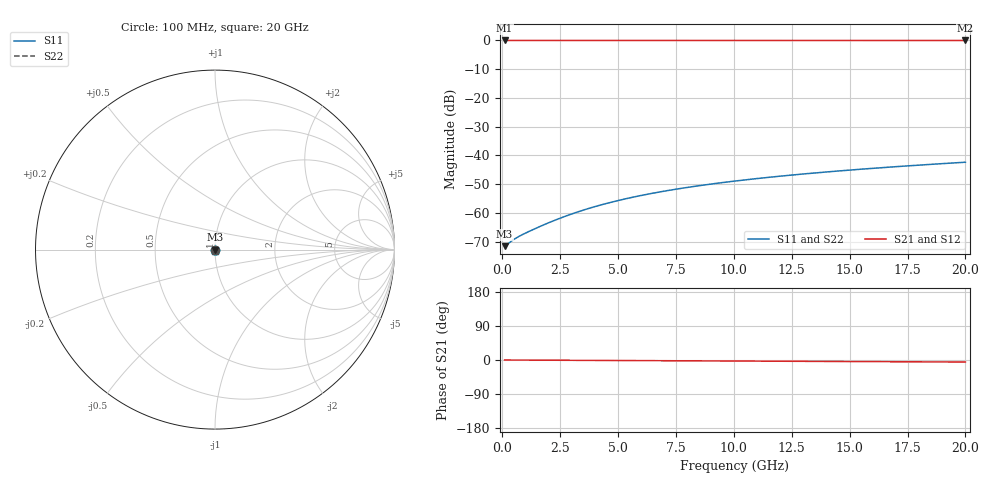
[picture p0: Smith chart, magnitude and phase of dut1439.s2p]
! Touchstone file exported from HFSS 2026.1.0
!  File:  C:/ffzhzh/LocalFiles/Ansys_Project_Files/temp_train_TSV_1439_1783197639_18472.aedt
!  Generated:  04:42:03 AM Jul  5, 2026
!  Design:  TSV
!  Project:  temp_train_TSV_1439_1783197639_18472
! Variables:
!  h_bsmrdl = 2um
!  h_ox = 20um
!  h_rdl = 5um
!  h_sub = 56.05um
!  h_tmrdl = 5um
!  h_tsv = 56.05um
!  h_via = 3um
!  l_bsmrdl = 300um
!  l_sub = 410.78um
!  l_tmrdl = 200um
!  m_sub = 200um
!  pitch = 20.19um
!  r_tsv = 5.39um
!  s_tmrdl = 10um
!  w_bsmrdl = 18um
!  w_sub = 500um
!  w_tmrdl = 12um
!  x_tsv_center1 = 206um
!  x_tsv_center2 = 524um
!  x_tsv_center3 = 736um
!  x_tsv_center4 = 1054um
!  x_tsv_center5 = 1266um
!  x_tsv_center6 = 1584um
# GHz S MA R 50.000000
! Terminal data exported
! Port[1] = TSV1_1_T1
! Port[2] = TSV1_1_T2
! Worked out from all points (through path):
!   200 points, 100 MHz to 20 GHz, reference 50 ohm
!   highest |S21| = 0.00 dB at 100 MHz (marker M1); lowest = 0.0 dB at 20 GHz (marker M2)
!   lowest |S11| = -71.6 dB at 100 MHz (marker M3), VSWR 1.00, Z = 50 + j0.000859 ohm
!   |S11| at or under -10 dB: start of sweep to end of sweep
!   |S22| runs from -71.6 to -42.4 dB; largest |S21 - S12| = 2.4e-15
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0.1  0.0002623 1.9  0.9997 -0.0  0.9997 -0.0  0.0002623 1.9
! Gamma 0 0 0 0
! Port Impedance 50 0 50 0
0.2  0.0002791 2.2  0.9997 -0.1  0.9997 -0.1  0.0002791 2.2
0.4  0.0003229 -1.9  0.9997 -0.1  0.9997 -0.1  0.0003229 -1.9
0.6  0.0003648 -8.7  0.9996 -0.2  0.9996 -0.2  0.0003648 -8.7
0.9  0.000423 -18.7  0.9996 -0.3  0.9996 -0.3  0.000423 -18.7
1.3  0.000504 -29.3  0.9996 -0.4  0.9996 -0.4  0.000504 -29.3
1.9  0.0006441 -40.2  0.9995 -0.5  0.9995 -0.5  0.0006441 -40.2
2.4  0.0007776 -46.2  0.9995 -0.7  0.9995 -0.7  0.0007776 -46.2
2.9  0.000924 -50.7  0.9994 -0.8  0.9994 -0.8  0.000924 -50.7
3.5  0.001113 -54.7  0.9993 -1.0  0.9993 -1.0  0.001113 -54.7
4.2  0.001349 -58.4  0.9993 -1.2  0.9993 -1.2  0.001349 -58.4
5  0.001633 -61.7  0.9992 -1.4  0.9992 -1.4  0.001633 -61.7
5.9  0.001965 -64.7  0.9991 -1.6  0.9991 -1.6  0.001965 -64.7
6.8  0.002306 -67.2  0.999 -1.9  0.999 -1.9  0.002306 -67.2
7.5  0.002575 -68.9  0.999 -2.0  0.999 -2.0  0.002575 -68.9
8.3  0.002885 -70.6  0.9989 -2.3  0.9989 -2.3  0.002885 -70.6
10.1  0.003589 -73.7  0.9988 -2.7  0.9988 -2.7  0.003589 -73.7
11.7  0.004221 -75.9  0.9987 -3.2  0.9987 -3.2  0.004221 -75.9
13.4  0.004897 -77.8  0.9987 -3.6  0.9987 -3.6  0.004897 -77.8
15  0.005539 -79.3  0.9986 -4.1  0.9986 -4.1  0.005539 -79.3
16.7  0.006228 -80.6  0.9985 -4.5  0.9985 -4.5  0.006228 -80.6
20  0.007589 -82.8  0.9983 -5.4  0.9983 -5.4  0.007589 -82.8
